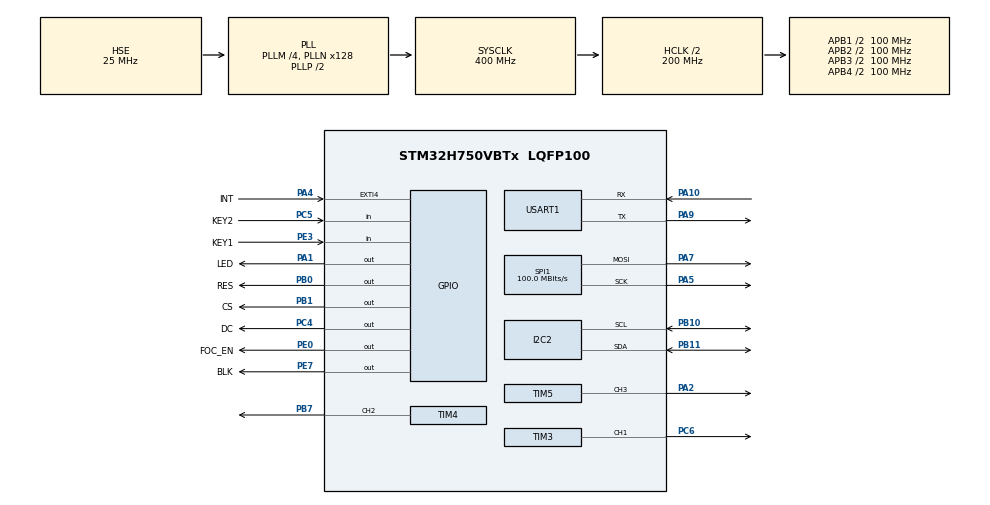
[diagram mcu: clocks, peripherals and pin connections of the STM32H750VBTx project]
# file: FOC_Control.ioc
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Dma.Request0=SPI1_TX
Dma.Request1=USART1_RX
Dma.SPI1_TX.0.Direction=DMA_MEMORY_TO_PERIPH
Dma.SPI1_TX.0.EventEnable=DISABLE
Dma.SPI1_TX.0.FIFOMode=DMA_FIFOMODE_DISABLE
Dma.SPI1_TX.0.Instance=DMA1_Stream0
Dma.SPI1_TX.0.MemDataAlignment=DMA_MDATAALIGN_BYTE
Dma.SPI1_TX.0.MemInc=DMA_MINC_ENABLE
Dma.SPI1_TX.0.Mode=DMA_NORMAL
Dma.SPI1_TX.0.PeriphDataAlignment=DMA_PDATAALIGN_BYTE
Dma.SPI1_TX.0.PeriphInc=DMA_PINC_DISABLE
Dma.SPI1_TX.0.Polarity=HAL_DMAMUX_REQ_GEN_RISING
Dma.SPI1_TX.0.Priority=DMA_PRIORITY_MEDIUM
Dma.SPI1_TX.0.RequestNumber=1
Dma.SPI1_TX.0.SignalID=NONE
Dma.SPI1_TX.0.SyncEnable=DISABLE
Dma.SPI1_TX.0.SyncPolarity=HAL_DMAMUX_SYNC_NO_EVENT
Dma.SPI1_TX.0.SyncRequestNumber=1
Dma.SPI1_TX.0.SyncSignalID=NONE
Dma.USART1_RX.1.Direction=DMA_PERIPH_TO_MEMORY
Dma.USART1_RX.1.EventEnable=DISABLE
Dma.USART1_RX.1.FIFOMode=DMA_FIFOMODE_DISABLE
Dma.USART1_RX.1.Instance=DMA1_Stream3
Dma.USART1_RX.1.MemDataAlignment=DMA_MDATAALIGN_BYTE
Dma.USART1_RX.1.MemInc=DMA_MINC_ENABLE
Dma.USART1_RX.1.Mode=DMA_NORMAL
Dma.USART1_RX.1.PeriphDataAlignment=DMA_PDATAALIGN_BYTE
Dma.USART1_RX.1.PeriphInc=DMA_PINC_DISABLE
Dma.USART1_RX.1.Polarity=HAL_DMAMUX_REQ_GEN_RISING
Dma.USART1_RX.1.Priority=DMA_PRIORITY_LOW
Dma.USART1_RX.1.RequestNumber=1
Dma.USART1_RX.1.SignalID=NONE
Dma.USART1_RX.1.SyncEnable=DISABLE
Dma.USART1_RX.1.SyncPolarity=HAL_DMAMUX_SYNC_NO_EVENT
Dma.USART1_RX.1.SyncRequestNumber=1
Dma.USART1_RX.1.SyncSignalID=NONE
FREERTOS.Tasks01=defaultTask,0,256,StartDefaultTask,Default,NULL,Dynamic,NULL,NULL
FREERTOS.configENABLE_FPU=1
FREERTOS.configLIBRARY_MAX_SYSCALL_INTERRUPT_PRIORITY=5
FREERTOS.configMAX_PRIORITIES=10
FREERTOS.configMINIMAL_STACK_SIZE=256
FREERTOS.configTOTAL_HEAP_SIZE=40960
FREERTOS.configUSE_NEWLIB_REENTRANT=1
FREERTOS.configUSE_TICK_HOOK=1
I2C2.Timing=0x10C0ECFF
Mcu.Family=STM32H7
Mcu.Name=STM32H750VBTx
Mcu.Package=LQFP100
NVIC.DMA1_Stream0_IRQn=true\:6\:0\:true\:false\:true\:true\:false\:true\:true
NVIC.DMA1_Stream3_IRQn=true\:5\:0\:false\:false\:true\:true\:false\:true\:true
NVIC.EXTI4_IRQn=true\:6\:0\:true\:false\:true\:true\:true\:true\:true
NVIC.PriorityGroup=NVIC_PRIORITYGROUP_4
NVIC.SPI1_IRQn=true\:5\:0\:false\:false\:true\:true\:false\:true\:true
PA1.GPIO_Label=LED
PA1.GPIO_PuPd=GPIO_NOPULL
PA1.PinState=GPIO_PIN_SET
PA1.Signal=GPIO_Output
PA10.Mode=Asynchronous
PA10.Signal=USART1_RX
PA13\ (JTMS/SWDIO).Mode=Serial_Wire
PA13\ (JTMS/SWDIO).Signal=DEBUG_JTMS-SWDIO
PA14\ (JTCK/SWCLK).Mode=Serial_Wire
PA14\ (JTCK/SWCLK).Signal=DEBUG_JTCK-SWCLK
PA2.Signal=S_TIM5_CH3
PA4.GPIO_Label=INT
PA4.GPIO_ModeDefaultEXTI=GPIO_MODE_IT_FALLING
PA4.Signal=GPXTI4
PA5.GPIO_PuPd=GPIO_NOPULL
PA5.GPIO_Speed=GPIO_SPEED_FREQ_HIGH
PA5.Mode=TX_Only_Simplex_Unidirect_Master
PA5.Signal=SPI1_SCK
PA7.GPIO_PuPd=GPIO_NOPULL
PA7.GPIO_Speed=GPIO_SPEED_FREQ_HIGH
PA7.Mode=TX_Only_Simplex_Unidirect_Master
PA7.Signal=SPI1_MOSI
PA9.Mode=Asynchronous
PA9.Signal=USART1_TX
PB0.GPIO_Label=RES
PB0.GPIO_PuPd=GPIO_PULLUP
PB0.Signal=GPIO_Output
PB1.GPIO_Label=CS
PB1.GPIO_PuPd=GPIO_PULLUP
PB1.GPIO_Speed=GPIO_SPEED_FREQ_HIGH
PB1.PinState=GPIO_PIN_SET
PB1.Signal=GPIO_Output
PB10.Mode=I2C
PB10.Signal=I2C2_SCL
PB11.Mode=I2C
PB11.Signal=I2C2_SDA
PB7.Signal=S_TIM4_CH2
PC4.GPIO_Label=DC
PC4.GPIO_PuPd=GPIO_PULLUP
PC4.GPIO_Speed=GPIO_SPEED_FREQ_HIGH
PC4.Signal=GPIO_Output
PC5.GPIO_Label=KEY2
PC5.GPIO_PuPd=GPIO_PULLUP
PC5.Signal=GPIO_Input
PC6.Signal=S_TIM3_CH1
PE0.GPIO_Label=FOC_EN
PE0.GPIO_PuPd=GPIO_PULLUP
PE0.PinState=GPIO_PIN_SET
PE0.Signal=GPIO_Output
PE3.GPIO_Label=KEY1
PE3.GPIO_PuPd=GPIO_PULLUP
PE3.Signal=GPIO_Input
PE7.GPIO_Label=BLK
PE7.PinState=GPIO_PIN_SET
PE7.Signal=GPIO_Output
PH0-OSC_IN\ (PH0).Mode=HSE-External-Oscillator
PH0-OSC_IN\ (PH0).Signal=RCC_OSC_IN
PH1-OSC_OUT\ (PH1).Mode=HSE-External-Oscillator
PH1-OSC_OUT\ (PH1).Signal=RCC_OSC_OUT
ProjectManager.HeapSize=0x4000
ProjectManager.StackSize=0x4000
ProjectManager.TargetToolchain=STM32CubeIDE
RCC.ADCFreq_Value=200000000
RCC.APB1Freq_Value=100000000
RCC.APB2Freq_Value=100000000
RCC.APB3Freq_Value=100000000
RCC.APB4Freq_Value=100000000
RCC.CortexFreq_Value=400000000
RCC.D1PPRE=RCC_APB3_DIV2
RCC.D2PPRE1=RCC_APB1_DIV2
RCC.D2PPRE2=RCC_APB2_DIV2
RCC.D3PPRE=RCC_APB4_DIV2
RCC.DATA_CACHE_ENABLE=0
RCC.DIVM1=4
RCC.DIVM2=8
RCC.DIVM3=8
RCC.DIVN1=128
RCC.DIVN2=128
RCC.DIVN3=128
RCC.DIVR1=4
RCC.HCLKFreq_Value=200000000
RCC.HPRE=RCC_HCLK_DIV2
RCC.HSE_VALUE=25000000
RCC.INSTRUCTION_CACHE_ENABLE=0
RCC.PLLSourceVirtual=RCC_PLLSOURCE_HSE
RCC.PREFETCH_ENABLE=1
RCC.ProductRev=revV
RCC.SDMMC1CLockSelection=RCC_SDMMCCLKSOURCE_PLL2
RCC.SPI123CLockSelection=RCC_SPI123CLKSOURCE_PLL2
RCC.SYSCLKFreq_VALUE=400000000
RCC.SYSCLKSource=RCC_SYSCLKSOURCE_PLLCLK
RCC.USART16CLockSelection=RCC_USART16CLKSOURCE_HSI
RCC.USBCLockSelection=RCC_USBCLKSOURCE_HSI48
RCC.USBFreq_Value=48000000
SH.S_TIM3_CH1.0=TIM3_CH1,PWM Generation1 CH1
SH.S_TIM4_CH2.0=TIM4_CH2,PWM Generation2 CH2
SH.S_TIM5_CH3.0=TIM5_CH3,PWM Generation3 CH3
SPI1.BaudRatePrescaler=SPI_BAUDRATEPRESCALER_2
SPI1.CLKPhase=SPI_PHASE_1EDGE
SPI1.CLKPolarity=SPI_POLARITY_LOW
SPI1.CalculateBaudRate=100.0 MBits/s
SPI1.DataSize=SPI_DATASIZE_8BIT
SPI1.Direction=SPI_DIRECTION_2LINES_TXONLY
SPI1.MasterKeepIOState=SPI_MASTER_KEEP_IO_STATE_ENABLE
SPI1.Mode=SPI_MODE_MASTER
SPI1.NSSPMode=SPI_NSS_PULSE_ENABLE
SPI1.VirtualType=VM_MASTER
TIM3.AutoReloadPreload=TIM_AUTORELOAD_PRELOAD_ENABLE
TIM3.Channel-PWM\ Generation1\ CH1=TIM_CHANNEL_1
TIM3.Period=1000
TIM3.Prescaler=4
TIM4.AutoReloadPreload=TIM_AUTORELOAD_PRELOAD_ENABLE
TIM4.Channel-PWM\ Generation2\ CH2=TIM_CHANNEL_2
TIM4.Period=1000
TIM4.Prescaler=4
TIM5.AutoReloadPreload=TIM_AUTORELOAD_PRELOAD_ENABLE
TIM5.Channel-PWM\ Generation3\ CH3=TIM_CHANNEL_3
TIM5.Period=1000
TIM5.Prescaler=4
USART1.VirtualMode-Asynchronous=VM_ASYNC
VP_CRC_VS_CRC.Mode=CRC_Activate
VP_FREERTOS_VS_CMSIS_V1.Mode=CMSIS_V1
board=custom

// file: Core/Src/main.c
/* USER CODE BEGIN Header */
/**
  ******************************************************************************
  * @file           : main.c
  * @brief          : Main program body
  ******************************************************************************
  * @attention
  *
  * Copyright (c) 2023 STMicroelectronics.
  * All rights reserved.
  *
  * This software is licensed under terms that can be found in the LICENSE file
  * in the root directory of this software component.
  * If no LICENSE file comes with this software, it is provided AS-IS.
  *
  ******************************************************************************
  */
/* USER CODE END Header */
#include "main.h"
#include "cmsis_os.h"

CRC_HandleTypeDef hcrc;

I2C_HandleTypeDef hi2c2;

SPI_HandleTypeDef hspi1;
DMA_HandleTypeDef hdma_spi1_tx;

TIM_HandleTypeDef htim3;
TIM_HandleTypeDef htim4;
TIM_HandleTypeDef htim5;

UART_HandleTypeDef huart1;
DMA_HandleTypeDef hdma_usart1_rx;

osThreadId defaultTaskHandle;
/* USER CODE BEGIN PV */
osMutexDef(printfMutex);
osMutexId printfMutex;
/* USER CODE END PV */

void SystemClock_Config(void);
static void MX_GPIO_Init(void);
static void MX_DMA_Init(void);
static void MX_CRC_Init(void);
static void MX_SPI1_Init(void);
static void MX_TIM3_Init(void);
static void MX_TIM4_Init(void);
static void MX_TIM5_Init(void);
static void MX_USART1_UART_Init(void);
static void MX_I2C2_Init(void);
void StartDefaultTask(void const * argument);

/* USER CODE BEGIN PFP */
void UARTTask(void const * argument);
osThreadId UARTTaskHandle;
osThreadDef(UARTTask, UARTTask, osPriorityNormal, 0, 512);

void FOCTask(void const * argument);
osThreadId FOCTaskHandle;
osThreadDef(FOCTask, FOCTask, osPriorityAboveNormal, 0, 1024);

void SensorTask(void const * argument);
osThreadId SensorTaskHandle;
osThreadDef(SensorTask, SensorTask, osPriorityAboveNormal, 0, 512);

void ModeSwitchTask(void const * argument);
osThreadId ModeSwitchTaskHandle;
osThreadDef(ModeSwitchTask, ModeSwitchTask, osPriorityNormal, 0, 128);
/* USER CODE END PFP */

int main(void)
{

  /* MCU Configuration--------------------------------------------------------*/

  /* Reset of all peripherals, Initializes the Flash interface and the Systick. */
  HAL_Init();

  /* Configure the system clock */
  SystemClock_Config();

  /* Initialize all configured peripherals */
  MX_GPIO_Init();
  MX_DMA_Init();
  MX_CRC_Init();
  MX_SPI1_Init();
  MX_TIM3_Init();
  MX_TIM4_Init();
  MX_TIM5_Init();
  MX_USART1_UART_Init();
  MX_I2C2_Init();

  /* USER CODE BEGIN RTOS_MUTEX */
  /* add mutexes, ... */
    printfMutex = osMutexCreate(osMutex(printfMutex));
  /* USER CODE END RTOS_MUTEX */

  /* Create the thread(s) */
  /* definition and creation of defaultTask */
  osThreadDef(defaultTask, StartDefaultTask, osPriorityNormal, 0, 256);
  defaultTaskHandle = osThreadCreate(osThread(defaultTask), NULL);

  /* Start scheduler */
  osKernelStart();
  /* We should never get here as control is now taken by the scheduler */
  /* Infinite loop */
  while (1)
  {

  }
}

void SystemClock_Config(void)
{
  RCC_OscInitTypeDef RCC_OscInitStruct = {0};
  RCC_ClkInitTypeDef RCC_ClkInitStruct = {0};

  /** Supply configuration update enable
  */
  HAL_PWREx_ConfigSupply(PWR_LDO_SUPPLY);

  /** Configure the main internal regulator output voltage
  */
  __HAL_PWR_VOLTAGESCALING_CONFIG(PWR_REGULATOR_VOLTAGE_SCALE1);

  while(!__HAL_PWR_GET_FLAG(PWR_FLAG_VOSRDY)) {}

  /** Initializes the RCC Oscillators according to the specified parameters
  * in the RCC_OscInitTypeDef structure.
  */
  RCC_OscInitStruct.OscillatorType = RCC_OSCILLATORTYPE_HSI|RCC_OSCILLATORTYPE_HSE;
  RCC_OscInitStruct.HSEState = RCC_HSE_ON;
  RCC_OscInitStruct.HSIState = RCC_HSI_DIV1;
  RCC_OscInitStruct.HSICalibrationValue = RCC_HSICALIBRATION_DEFAULT;
  RCC_OscInitStruct.PLL.PLLState = RCC_PLL_ON;
  RCC_OscInitStruct.PLL.PLLSource = RCC_PLLSOURCE_HSE;
  RCC_OscInitStruct.PLL.PLLM = 4;
  RCC_OscInitStruct.PLL.PLLN = 128;
  RCC_OscInitStruct.PLL.PLLP = 2;
  RCC_OscInitStruct.PLL.PLLQ = 2;
  RCC_OscInitStruct.PLL.PLLR = 4;
  RCC_OscInitStruct.PLL.PLLRGE = RCC_PLL1VCIRANGE_2;
  RCC_OscInitStruct.PLL.PLLVCOSEL = RCC_PLL1VCOWIDE;
  RCC_OscInitStruct.PLL.PLLFRACN = 0;
  if (HAL_RCC_OscConfig(&RCC_OscInitStruct) != HAL_OK)
  {
    Error_Handler();
  }

  /** Initializes the CPU, AHB and APB buses clocks
  */
  RCC_ClkInitStruct.ClockType = RCC_CLOCKTYPE_HCLK|RCC_CLOCKTYPE_SYSCLK
                              |RCC_CLOCKTYPE_PCLK1|RCC_CLOCKTYPE_PCLK2
                              |RCC_CLOCKTYPE_D3PCLK1|RCC_CLOCKTYPE_D1PCLK1;
  RCC_ClkInitStruct.SYSCLKSource = RCC_SYSCLKSOURCE_PLLCLK;
  RCC_ClkInitStruct.SYSCLKDivider = RCC_SYSCLK_DIV1;
  RCC_ClkInitStruct.AHBCLKDivider = RCC_HCLK_DIV2;
  RCC_ClkInitStruct.APB3CLKDivider = RCC_APB3_DIV2;
  RCC_ClkInitStruct.APB1CLKDivider = RCC_APB1_DIV2;
  RCC_ClkInitStruct.APB2CLKDivider = RCC_APB2_DIV2;
  RCC_ClkInitStruct.APB4CLKDivider = RCC_APB4_DIV2;

  if (HAL_RCC_ClockConfig(&RCC_ClkInitStruct, FLASH_LATENCY_2) != HAL_OK)
  {
    Error_Handler();
  }
}

static void MX_CRC_Init(void)
{

  hcrc.Instance = CRC;
  hcrc.Init.DefaultPolynomialUse = DEFAULT_POLYNOMIAL_ENABLE;
  hcrc.Init.DefaultInitValueUse = DEFAULT_INIT_VALUE_ENABLE;
  hcrc.Init.InputDataInversionMode = CRC_INPUTDATA_INVERSION_NONE;
  hcrc.Init.OutputDataInversionMode = CRC_OUTPUTDATA_INVERSION_DISABLE;
  hcrc.InputDataFormat = CRC_INPUTDATA_FORMAT_BYTES;
  if (HAL_CRC_Init(&hcrc) != HAL_OK)
  {
    Error_Handler();
  }

}

static void MX_I2C2_Init(void)
{

  hi2c2.Instance = I2C2;
  hi2c2.Init.Timing = 0x10C0ECFF;
  hi2c2.Init.OwnAddress1 = 0;
  hi2c2.Init.AddressingMode = I2C_ADDRESSINGMODE_7BIT;
  hi2c2.Init.DualAddressMode = I2C_DUALADDRESS_DISABLE;
  hi2c2.Init.OwnAddress2 = 0;
  hi2c2.Init.OwnAddress2Masks = I2C_OA2_NOMASK;
  hi2c2.Init.GeneralCallMode = I2C_GENERALCALL_DISABLE;
  hi2c2.Init.NoStretchMode = I2C_NOSTRETCH_DISABLE;
  if (HAL_I2C_Init(&hi2c2) != HAL_OK)
  {
    Error_Handler();
  }

  /** Configure Analogue filter
  */
  if (HAL_I2CEx_ConfigAnalogFilter(&hi2c2, I2C_ANALOGFILTER_ENABLE) != HAL_OK)
  {
    Error_Handler();
  }

  /** Configure Digital filter
  */
  if (HAL_I2CEx_ConfigDigitalFilter(&hi2c2, 0) != HAL_OK)
  {
    Error_Handler();
  }

}

static void MX_SPI1_Init(void)
{

  /* SPI1 parameter configuration*/
  hspi1.Instance = SPI1;
  hspi1.Init.Mode = SPI_MODE_MASTER;
  hspi1.Init.Direction = SPI_DIRECTION_2LINES_TXONLY;
  hspi1.Init.DataSize = SPI_DATASIZE_8BIT;
  hspi1.Init.CLKPolarity = SPI_POLARITY_LOW;
  hspi1.Init.CLKPhase = SPI_PHASE_1EDGE;
  hspi1.Init.NSS = SPI_NSS_SOFT;
  hspi1.Init.BaudRatePrescaler = SPI_BAUDRATEPRESCALER_2;
  hspi1.Init.FirstBit = SPI_FIRSTBIT_MSB;
  hspi1.Init.TIMode = SPI_TIMODE_DISABLE;
  hspi1.Init.CRCCalculation = SPI_CRCCALCULATION_DISABLE;
  hspi1.Init.CRCPolynomial = 0x0;
  hspi1.Init.NSSPMode = SPI_NSS_PULSE_ENABLE;
  hspi1.Init.NSSPolarity = SPI_NSS_POLARITY_LOW;
  hspi1.Init.FifoThreshold = SPI_FIFO_THRESHOLD_01DATA;
  hspi1.Init.TxCRCInitializationPattern = SPI_CRC_INITIALIZATION_ALL_ZERO_PATTERN;
  hspi1.Init.RxCRCInitializationPattern = SPI_CRC_INITIALIZATION_ALL_ZERO_PATTERN;
  hspi1.Init.MasterSSIdleness = SPI_MASTER_SS_IDLENESS_00CYCLE;
  hspi1.Init.MasterInterDataIdleness = SPI_MASTER_INTERDATA_IDLENESS_00CYCLE;
  hspi1.Init.MasterReceiverAutoSusp = SPI_MASTER_RX_AUTOSUSP_DISABLE;
  hspi1.Init.MasterKeepIOState = SPI_MASTER_KEEP_IO_STATE_ENABLE;
  hspi1.Init.IOSwap = SPI_IO_SWAP_DISABLE;
  if (HAL_SPI_Init(&hspi1) != HAL_OK)
  {
    Error_Handler();
  }

}

static void MX_TIM3_Init(void)
{

  TIM_MasterConfigTypeDef sMasterConfig = {0};
  TIM_OC_InitTypeDef sConfigOC = {0};

  htim3.Instance = TIM3;
  htim3.Init.Prescaler = 5;
  htim3.Init.CounterMode = TIM_COUNTERMODE_UP;
  htim3.Init.Period = 1000;
  htim3.Init.ClockDivision = TIM_CLOCKDIVISION_DIV1;
  htim3.Init.AutoReloadPreload = TIM_AUTORELOAD_PRELOAD_ENABLE;
  if (HAL_TIM_PWM_Init(&htim3) != HAL_OK)
  {
    Error_Handler();
  }
  sMasterConfig.MasterOutputTrigger = TIM_TRGO_RESET;
  sMasterConfig.MasterSlaveMode = TIM_MASTERSLAVEMODE_DISABLE;
  if (HAL_TIMEx_MasterConfigSynchronization(&htim3, &sMasterConfig) != HAL_OK)
  {
    Error_Handler();
  }
  sConfigOC.OCMode = TIM_OCMODE_PWM1;
  sConfigOC.Pulse = 0;
  sConfigOC.OCPolarity = TIM_OCPOLARITY_HIGH;
  sConfigOC.OCFastMode = TIM_OCFAST_DISABLE;
  if (HAL_TIM_PWM_ConfigChannel(&htim3, &sConfigOC, TIM_CHANNEL_1) != HAL_OK)
  {
    Error_Handler();
  }
  HAL_TIM_MspPostInit(&htim3);

}

static void MX_TIM4_Init(void)
{

  TIM_MasterConfigTypeDef sMasterConfig = {0};
  TIM_OC_InitTypeDef sConfigOC = {0};

  htim4.Instance = TIM4;
  htim4.Init.Prescaler = 5;
  htim4.Init.CounterMode = TIM_COUNTERMODE_UP;
  htim4.Init.Period = 1000;
  htim4.Init.ClockDivision = TIM_CLOCKDIVISION_DIV1;
  htim4.Init.AutoReloadPreload = TIM_AUTORELOAD_PRELOAD_ENABLE;
  if (HAL_TIM_PWM_Init(&htim4) != HAL_OK)
  {
    Error_Handler();
  }
  sMasterConfig.MasterOutputTrigger = TIM_TRGO_RESET;
  sMasterConfig.MasterSlaveMode = TIM_MASTERSLAVEMODE_DISABLE;
  if (HAL_TIMEx_MasterConfigSynchronization(&htim4, &sMasterConfig) != HAL_OK)
  {
    Error_Handler();
  }
  sConfigOC.OCMode = TIM_OCMODE_PWM1;
  sConfigOC.Pulse = 0;
  sConfigOC.OCPolarity = TIM_OCPOLARITY_HIGH;
  sConfigOC.OCFastMode = TIM_OCFAST_DISABLE;
  if (HAL_TIM_PWM_ConfigChannel(&htim4, &sConfigOC, TIM_CHANNEL_2) != HAL_OK)
  {
    Error_Handler();
  }
  HAL_TIM_MspPostInit(&htim4);

}

static void MX_TIM5_Init(void)
{

  TIM_MasterConfigTypeDef sMasterConfig = {0};
  TIM_OC_InitTypeDef sConfigOC = {0};

  htim5.Instance = TIM5;
  htim5.Init.Prescaler = 5;
  htim5.Init.CounterMode = TIM_COUNTERMODE_UP;
  htim5.Init.Period = 1000;
  htim5.Init.ClockDivision = TIM_CLOCKDIVISION_DIV1;
  htim5.Init.AutoReloadPreload = TIM_AUTORELOAD_PRELOAD_ENABLE;
  if (HAL_TIM_PWM_Init(&htim5) != HAL_OK)
  {
    Error_Handler();
  }
  sMasterConfig.MasterOutputTrigger = TIM_TRGO_RESET;
  sMasterConfig.MasterSlaveMode = TIM_MASTERSLAVEMODE_DISABLE;
  if (HAL_TIMEx_MasterConfigSynchronization(&htim5, &sMasterConfig) != HAL_OK)
  {
    Error_Handler();
  }
  sConfigOC.OCMode = TIM_OCMODE_PWM1;
  sConfigOC.Pulse = 0;
  sConfigOC.OCPolarity = TIM_OCPOLARITY_HIGH;
  sConfigOC.OCFastMode = TIM_OCFAST_DISABLE;
  if (HAL_TIM_PWM_ConfigChannel(&htim5, &sConfigOC, TIM_CHANNEL_3) != HAL_OK)
  {
    Error_Handler();
  }
  HAL_TIM_MspPostInit(&htim5);

}

static void MX_USART1_UART_Init(void)
{

  huart1.Instance = USART1;
  huart1.Init.BaudRate = 115200;
  huart1.Init.WordLength = UART_WORDLENGTH_8B;
  huart1.Init.StopBits = UART_STOPBITS_1;
  huart1.Init.Parity = UART_PARITY_NONE;
  huart1.Init.Mode = UART_MODE_TX_RX;
  huart1.Init.HwFlowCtl = UART_HWCONTROL_NONE;
  huart1.Init.OverSampling = UART_OVERSAMPLING_16;
  huart1.Init.OneBitSampling = UART_ONE_BIT_SAMPLE_DISABLE;
  huart1.Init.ClockPrescaler = UART_PRESCALER_DIV1;
  huart1.AdvancedInit.AdvFeatureInit = UART_ADVFEATURE_NO_INIT;
  if (HAL_UART_Init(&huart1) != HAL_OK)
  {
    Error_Handler();
  }
  if (HAL_UARTEx_SetTxFifoThreshold(&huart1, UART_TXFIFO_THRESHOLD_1_8) != HAL_OK)
  {
    Error_Handler();
  }
  if (HAL_UARTEx_SetRxFifoThreshold(&huart1, UART_RXFIFO_THRESHOLD_1_8) != HAL_OK)
  {
    Error_Handler();
  }
  if (HAL_UARTEx_DisableFifoMode(&huart1) != HAL_OK)
  {
    Error_Handler();
  }

}

static void MX_DMA_Init(void)
{

  /* DMA controller clock enable */
  __HAL_RCC_DMA1_CLK_ENABLE();

  /* DMA interrupt init */
  /* DMA1_Stream0_IRQn interrupt configuration */
  HAL_NVIC_SetPriority(DMA1_Stream0_IRQn, 6, 0);
  HAL_NVIC_EnableIRQ(DMA1_Stream0_IRQn);
  /* DMA1_Stream3_IRQn interrupt configuration */
  HAL_NVIC_SetPriority(DMA1_Stream3_IRQn, 5, 0);
  HAL_NVIC_EnableIRQ(DMA1_Stream3_IRQn);

}

static void MX_GPIO_Init(void)
{
  GPIO_InitTypeDef GPIO_InitStruct = {0};

  /* GPIO Ports Clock Enable */
  __HAL_RCC_GPIOE_CLK_ENABLE();
  __HAL_RCC_GPIOH_CLK_ENABLE();
  __HAL_RCC_GPIOA_CLK_ENABLE();
  __HAL_RCC_GPIOC_CLK_ENABLE();
  __HAL_RCC_GPIOB_CLK_ENABLE();

  /*Configure GPIO pin Output Level */
  HAL_GPIO_WritePin(LED_GPIO_Port, LED_Pin, GPIO_PIN_SET);

  /*Configure GPIO pin Output Level */
  HAL_GPIO_WritePin(DC_GPIO_Port, DC_Pin, GPIO_PIN_RESET);

  /*Configure GPIO pin Output Level */
  HAL_GPIO_WritePin(RES_GPIO_Port, RES_Pin, GPIO_PIN_RESET);

  /*Configure GPIO pin Output Level */
  HAL_GPIO_WritePin(CS_GPIO_Port, CS_Pin, GPIO_PIN_SET);

  /*Configure GPIO pin Output Level */
  HAL_GPIO_WritePin(GPIOE, BLK_Pin|FOC_EN_Pin, GPIO_PIN_SET);

  /*Configure GPIO pin : KEY1_Pin */
  GPIO_InitStruct.Pin = KEY1_Pin;
  GPIO_InitStruct.Mode = GPIO_MODE_INPUT;
  GPIO_InitStruct.Pull = GPIO_PULLUP;
  HAL_GPIO_Init(KEY1_GPIO_Port, &GPIO_InitStruct);

  /*Configure GPIO pin : LED_Pin */
  GPIO_InitStruct.Pin = LED_Pin;
  GPIO_InitStruct.Mode = GPIO_MODE_OUTPUT_PP;
  GPIO_InitStruct.Pull = GPIO_NOPULL;
  GPIO_InitStruct.Speed = GPIO_SPEED_FREQ_LOW;
  HAL_GPIO_Init(LED_GPIO_Port, &GPIO_InitStruct);

  /*Configure GPIO pin : INT_Pin */
  GPIO_InitStruct.Pin = INT_Pin;
  GPIO_InitStruct.Mode = GPIO_MODE_IT_FALLING;
  GPIO_InitStruct.Pull = GPIO_NOPULL;
  HAL_GPIO_Init(INT_GPIO_Port, &GPIO_InitStruct);

  /*Configure GPIO pin : DC_Pin */
  GPIO_InitStruct.Pin = DC_Pin;
  GPIO_InitStruct.Mode = GPIO_MODE_OUTPUT_PP;
  GPIO_InitStruct.Pull = GPIO_PULLUP;
  GPIO_InitStruct.Speed = GPIO_SPEED_FREQ_HIGH;
  HAL_GPIO_Init(DC_GPIO_Port, &GPIO_InitStruct);

  /*Configure GPIO pin : KEY2_Pin */
  GPIO_InitStruct.Pin = KEY2_Pin;
  GPIO_InitStruct.Mode = GPIO_MODE_INPUT;
  GPIO_InitStruct.Pull = GPIO_PULLUP;
  HAL_GPIO_Init(KEY2_GPIO_Port, &GPIO_InitStruct);

  /*Configure GPIO pin : RES_Pin */
  GPIO_InitStruct.Pin = RES_Pin;
  GPIO_InitStruct.Mode = GPIO_MODE_OUTPUT_PP;
  GPIO_InitStruct.Pull = GPIO_PULLUP;
  GPIO_InitStruct.Speed = GPIO_SPEED_FREQ_LOW;
  HAL_GPIO_Init(RES_GPIO_Port, &GPIO_InitStruct);

  /*Configure GPIO pin : CS_Pin */
  GPIO_InitStruct.Pin = CS_Pin;
  GPIO_InitStruct.Mode = GPIO_MODE_OUTPUT_PP;
  GPIO_InitStruct.Pull = GPIO_PULLUP;
  GPIO_InitStruct.Speed = GPIO_SPEED_FREQ_HIGH;
  HAL_GPIO_Init(CS_GPIO_Port, &GPIO_InitStruct);

  /*Configure GPIO pin : BLK_Pin */
  GPIO_InitStruct.Pin = BLK_Pin;
  GPIO_InitStruct.Mode = GPIO_MODE_OUTPUT_PP;
  GPIO_InitStruct.Pull = GPIO_NOPULL;
  GPIO_InitStruct.Speed = GPIO_SPEED_FREQ_LOW;
  HAL_GPIO_Init(BLK_GPIO_Port, &GPIO_InitStruct);

  /*Configure GPIO pin : FOC_EN_Pin */
  GPIO_InitStruct.Pin = FOC_EN_Pin;
  GPIO_InitStruct.Mode = GPIO_MODE_OUTPUT_PP;
  GPIO_InitStruct.Pull = GPIO_PULLUP;
  GPIO_InitStruct.Speed = GPIO_SPEED_FREQ_LOW;
  HAL_GPIO_Init(FOC_EN_GPIO_Port, &GPIO_InitStruct);

  /* EXTI interrupt init*/
  HAL_NVIC_SetPriority(EXTI4_IRQn, 6, 0);
  HAL_NVIC_EnableIRQ(EXTI4_IRQn);

}

void StartDefaultTask(void const * argument)
{
  /* USER CODE BEGIN 5 */

    uart_printf("os start!\r\n");

    portENTER_CRITICAL();
    UARTTaskHandle = osThreadCreate(osThread(UARTTask), NULL);
    FOCTaskHandle = osThreadCreate(osThread(FOCTask), NULL);
    SensorTaskHandle = osThreadCreate(osThread(SensorTask), NULL);
    ModeSwitchTaskHandle = osThreadCreate(osThread(ModeSwitchTask), NULL);
    portEXIT_CRITICAL();

    /* Infinite loop */
    for(;;)
  {
      HAL_GPIO_TogglePin(LED_GPIO_Port, LED_Pin);
    osDelay(500);
  }
  /* USER CODE END 5 */
}

void Error_Handler(void)
{
  __disable_irq();
  while (1)
  {
  }
}

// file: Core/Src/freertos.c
/* USER CODE BEGIN Header */
/**
  ******************************************************************************
  * File Name          : freertos.c
  * Description        : Code for freertos applications
  ******************************************************************************
  * @attention
  *
  * Copyright (c) 2023 STMicroelectronics.
  * All rights reserved.
  *
  * This software is licensed under terms that can be found in the LICENSE file
  * in the root directory of this software component.
  * If no LICENSE file comes with this software, it is provided AS-IS.
  *
  ******************************************************************************
  */
/* USER CODE END Header */

#include "FreeRTOS.h"
#include "task.h"
#include "main.h"

/* USER CODE BEGIN PD */
#define _constrain(amt, low, high) ((amt)<(low)?(low):((amt)>(high)?(high):(amt)))
/* USER CODE END PD */

/* USER CODE BEGIN Variables */
//uart input
#define UARTBUFFER 100
uint8_t uartBuffer[UARTBUFFER];
float reformat[2];
//hall sensor angle data
extern float angle_pi;
extern float angle_f;
extern float zero_electric_angle;
//Motor Mode
uint8_t ModeFlag;
/* USER CODE END Variables */

/* GetIdleTaskMemory prototype (linked to static allocation support) */
void vApplicationGetIdleTaskMemory( StaticTask_t **ppxIdleTaskTCBBuffer, StackType_t **ppxIdleTaskStackBuffer, uint32_t *pulIdleTaskStackSize );

/* Hook prototypes */
void vApplicationTickHook(void);

/* USER CODE BEGIN 3 */
__weak void vApplicationTickHook(void) {
    /* This function will be called by each tick interrupt if
    configUSE_TICK_HOOK is set to 1 in FreeRTOSConfig.h. User code can be
    added here, but the tick hook is called from an interrupt context, so
    code must not attempt to block, and only the interrupt safe FreeRTOS API
    functions can be used (those that end in FromISR()). */
}
/* USER CODE END 3 */

/* USER CODE BEGIN GET_IDLE_TASK_MEMORY */
static StaticTask_t xIdleTaskTCBBuffer;
static StackType_t xIdleStack[configMINIMAL_STACK_SIZE];

void vApplicationGetIdleTaskMemory(StaticTask_t **ppxIdleTaskTCBBuffer, StackType_t **ppxIdleTaskStackBuffer,
                                   uint32_t *pulIdleTaskStackSize) {
    *ppxIdleTaskTCBBuffer = &xIdleTaskTCBBuffer;
    *ppxIdleTaskStackBuffer = &xIdleStack[0];
    *pulIdleTaskStackSize = configMINIMAL_STACK_SIZE;
    /* place for user code */
}
/* USER CODE END GET_IDLE_TASK_MEMORY */

/* USER CODE BEGIN Application */
void FOCTask(void const *argument) {
    int Motor_PP = 7;
    int sensorDir = 1;

    FOC_Vbus(12.0f);
    FOC_alignSensor(Motor_PP, sensorDir);

    Pid_Value_Init();
    Motor_1.OutputMax = 3.0;
    Motor_1.OutputMin = -3.0;
    Motor_1.IntegralMax = 1.0f;

    for (;;) {
        switch (ModeFlag) {
            case 1:
                if (reformat[1] > 30 || reformat[1] < -30) {
                    uart_printf("argument error! Set speed to 1 rad/s\r\n");
                    reformat[1] = 1.00f;
                } else
                    velocityOpenLoop(reformat[1]);
                break;

            case 2:
                if (reformat[1] > 30 || reformat[1] < -30) {
                    uart_printf("argument error! Set speed to 1 rad/s\r\n");
                    reformat[1] = 1.00f;
                } else
                    FOC_M0_setVelocity(reformat[1]);
                break;

            case 3:
                FOC_M0_set_Velocity_Angle(reformat[1]);
                uart_printf("%f,%f\r\n", angle_pi, reformat[1]/180.0f*_PI);
                break;

            default:
                break;
        }
        osDelay(1);
    }
}

void SensorTask(void const *argument) {

    for (;;) {
//        i2c_mt6701_get_angle(&angle, &angle_f);
//        uart_printf("hall data: %f\r\n", angle_f);

//        uart_printf("Actual Speed: %f\r\n", Motor_1.Actual);
//        uart_printf("Sensor Angle: %f\r\n", angle_f);

        osDelay(500);
    }
}

void ModeSwitchTask(void const *argument) {
    for (;;) {
        osDelay(500);
    }
}

void UARTTask(void const *argument) {
    int i;
    int array_empty_flag = 1;

    uart_printf("**********************************************************************   \r\n");
    uart_printf("Nino FOC      ---     BLDC   \r\n");
    uart_printf("input example: \r\n");
    uart_printf("               x:+001,y:+020,\r\n");
    uart_printf("Motor Mode switch:   \r\n");
    uart_printf("Mode 1: OpenLoop\t\t\targument: speed(-30~30)   \r\n");
    uart_printf("Mode 2: Feedback Speed Control\t\targument: speed(-30~30)   \r\n");
    uart_printf("Mode 3: Angle Control\t\t\targument: angle(0~2pi)   \r\n");
    uart_printf("Mode 4: Gear Mode \t\t\targument: Gear Number(2~6)   \r\n");
    uart_printf("Mode 5: Without damp\t\t\targument: NULL   \r\n");
    uart_printf("Mode 6: Damp\t\t\t\targument: damp value(1~10)   \r\n");
    uart_printf("**********************************************************************   \r\n");

    for (;;) {
        HAL_UART_Receive_DMA(&huart1, &uartBuffer[0], UARTBUFFER);
        for (i = 0; i < UARTBUFFER; i++) {
            if (uartBuffer[i] != 0) {
                array_empty_flag = 0;
                break;
            }
        }
        if (array_empty_flag == 0) {
            array_empty_flag = 1;

//            uart_printf("User String: %s\r\n", uartBuffer);

            /*
             * example:
             * input: x:+001,y:-010,
             * output: reformat[0] = 1, reformat[1] = -10
             * */
            portENTER_CRITICAL();
            ReformatBuffer(uartBuffer, reformat);
            ModeFlag = (uint8_t) reformat[0];

            uart_printf("Mode: %d\targument: %0.2f\r\n", ModeFlag, reformat[1]);
            reformat[1] = reformat[1] / 180.0f * M_PI;  //转化为弧度制单位
            portEXIT_CRITICAL();

            memset(uartBuffer, 0, UARTBUFFER);
            HAL_UART_DMAStop(&huart1);
        }
        osDelay(100);
    }
}
/* USER CODE END Application */
